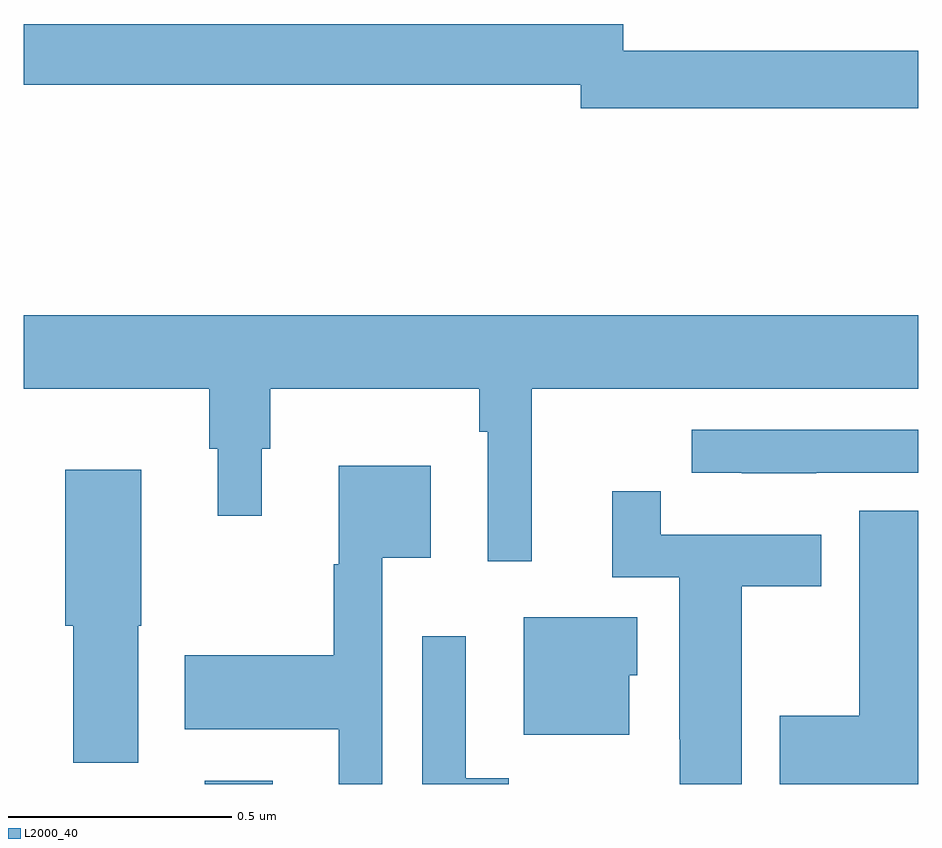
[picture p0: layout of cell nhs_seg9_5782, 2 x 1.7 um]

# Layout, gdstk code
import gdstk
lib = gdstk.Library(unit=1e-6, precision=1e-09)
def R(c, l, rs):  # rectangles x0, y0, x1, y1
    for r in rs: c.add(gdstk.rectangle(r[:2], r[2:], *l))
def P(c, l, *ps):  # polygons
    for p in ps: c.add(gdstk.Polygon(p, *l))
L2000_40 = (2000, 40)

nhs_seg9_5782 = lib.new_cell('nhs_seg9_5782')
R(nhs_seg9_5782, L2000_40, [(183.404,1231.5,183.556,1231.507)])
P(nhs_seg9_5782, L2000_40, [(185,1233.14),(184.341,1233.14),(184.341,1233.2),(183,1233.2),(183,1233.064),(184.245,1233.064),(184.245,1233.012),(185,1233.012)],
  [(183,1232.384),(183.415,1232.384),(183.415,1232.25),(183.434,1232.25),(183.434,1232.1),(183.532,1232.1),(183.532,1232.25),(183.551,1232.25),(183.551,1232.384),(184.018,1232.384),(184.018,1232.288),(184.038,1232.288),(184.038,1231.998),(184.136,1231.998),(184.136,1232.384),(185,1232.384),(185,1232.548),(183,1232.548)],
  [(184.772,1232.196),(185,1232.196),(185,1232.292),(184.494,1232.292),(184.494,1232.196),(184.606,1232.196),(184.606,1232.195),(184.772,1232.195)],
  [(183.801,1232.006),(183.91,1232.006),(183.91,1232.212),(183.704,1232.212),(183.704,1231.992),(183.693,1231.992),(183.693,1231.788),(183.36,1231.788),(183.36,1231.622),(183.704,1231.622),(183.704,1231.5),(183.801,1231.5)],
  [(183.256,1231.854),(183.262,1231.854),(183.262,1232.203),(183.092,1232.203),(183.092,1231.854),(183.11,1231.854),(183.11,1231.548),(183.256,1231.548)],
  [(184.606,1231.942),(184.783,1231.942),(184.783,1232.058),(184.424,1232.058),(184.424,1232.155),(184.316,1232.155),(184.316,1231.962),(184.466,1231.962),(184.466,1231.6),(184.467,1231.6),(184.467,1231.5),(184.606,1231.5)],
  [(185,1232.111),(184.868,1232.111),(184.868,1231.653),(184.691,1231.653),(184.691,1231.5),(185,1231.5)],
  [(184.354,1231.743),(184.372,1231.743),(184.372,1231.873),(184.118,1231.873),(184.118,1231.61),(184.354,1231.61)],
  [(184.084,1231.513),(183.988,1231.513),(183.988,1231.831),(183.891,1231.831),(183.891,1231.5),(184.084,1231.5)])

lib.write_gds('nhs_seg9_5782.gds')
